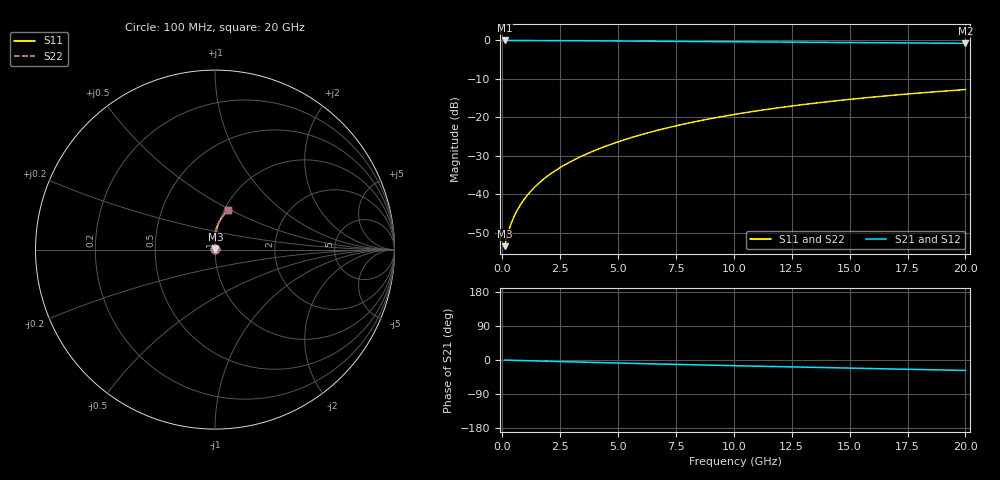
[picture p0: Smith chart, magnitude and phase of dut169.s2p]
! Touchstone file exported from HFSS 2024.1.0
!  File:  C:/UserFiles/LocalFiles/RDL_TSV_Batchsim/temp_RDL_bottom_169_1778698152.aedt
!  Generated:  02:51:41 AM May 14, 2026
!  Design:  RDL_bottom
!  Project:  temp_RDL_bottom_169_1778698152
!  Setup:  Setup1
!  Solution:  Sweep
! Variables:
!  dtsv = 10.80580581um
!  hbump = 3um
!  htsv = 56.35um
!  ldown = 413.61um
!  lrdl = 100um
!  p = 40
!  p1 = 45.91um
!  rhole = 1um
!  t = 450um
!  tdown = 3.49um
!  trdl = 3.915915916um
!  wdown = 26.67um
!  wrdl = 20um
# GHz S MA R 50.000000
! Terminal data exported
! Port[1] = RDL1_T1
! Port[2] = RDL1_T2
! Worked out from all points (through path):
!   200 points, 100 MHz to 20 GHz, reference 50 ohm
!   highest |S21| = -0.02 dB at 100 MHz (marker M1); lowest = -0.8 dB at 20 GHz (marker M2)
!   group delay of S21, straight-line fit = 3.77 ps
!   lowest |S11| = -53.5 dB at 100 MHz (marker M3), VSWR 1.00, Z = 50.2 + j0.104 ohm
!   |S11| at or under -10 dB: start of sweep to end of sweep
!   |S22| runs from -53.5 to -12.8 dB; largest |S21 - S12| = 2.3e-15
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0.1  0.002104 29.6  0.9982 -0.2  0.9982 -0.2  0.002104 29.6
! Gamma 0 0 0 0
! Port Impedance 50 0 50 0
0.2  0.002792 45.7  0.998 -0.4  0.998 -0.4  0.002792 45.7
0.3  0.003543 54.4  0.9978 -0.5  0.9978 -0.5  0.003542 54.4
0.4  0.004294 60.2  0.9977 -0.7  0.9977 -0.7  0.004294 60.2
0.5  0.005049 64.5  0.9976 -0.9  0.9976 -0.9  0.005049 64.5
0.6  0.005814 67.8  0.9974 -1.0  0.9974 -1.0  0.005814 67.8
0.8  0.007381 72.9  0.9972 -1.4  0.9972 -1.4  0.007381 72.9
1  0.008995 76.4  0.9969 -1.7  0.9969 -1.7  0.008995 76.4
1.2  0.01065 79.1  0.9966 -2.0  0.9966 -2.0  0.01065 79.1
1.7  0.01493 83.5  0.9956 -2.8  0.9956 -2.8  0.01493 83.6
2.2  0.0194 86.3  0.9943 -3.7  0.9943 -3.7  0.0194 86.3
2.8  0.02501 88.5  0.9924 -4.6  0.9924 -4.6  0.02501 88.5
3.5  0.0319 90.1  0.9899 -5.7  0.9899 -5.7  0.03191 90.1
4.2  0.03917 91.0  0.987 -6.8  0.987 -6.8  0.03917 91.0
5  0.0479 91.4  0.9834 -8.0  0.9834 -8.0  0.0479 91.4
6.8  0.06886 90.9  0.9748 -10.6  0.9748 -10.6  0.06888 90.9
8.4  0.08852 89.3  0.967 -12.9  0.967 -12.9  0.08854 89.3
10.1  0.1099 87.0  0.959 -15.1  0.959 -15.1  0.1099 87.0
11.7  0.13 84.7  0.9517 -17.2  0.9517 -17.2  0.1301 84.7
13.4  0.1513 82.1  0.9442 -19.4  0.9442 -19.4  0.1513 82.1
16.7  0.1914 77.0  0.9302 -23.5  0.9302 -23.5  0.1914 77.0
20  0.2294 72.1  0.9164 -27.6  0.9164 -27.6  0.2294 72.1
